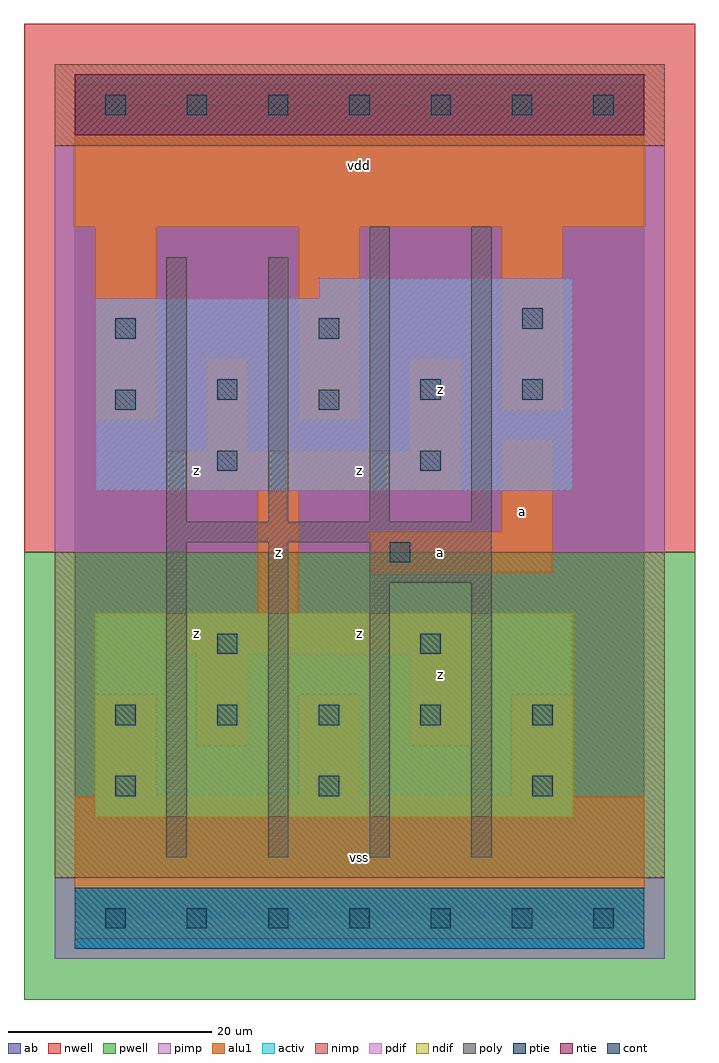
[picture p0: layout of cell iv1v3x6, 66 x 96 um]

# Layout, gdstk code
import gdstk
lib = gdstk.Library(unit=1e-6, precision=1e-09)
def R(c, l, rs):  # rectangles x0, y0, x1, y1
    for r in rs: c.add(gdstk.rectangle(r[:2], r[2:], *l))
def A(c, l, x, y, w, h, nx, ny, dx, dy):  # array of equal rectangles
    R(c, l, [(x+i*dx, y+j*dy, x+i*dx+w, y+j*dy+h) for i in range(nx) for j in range(ny)])
ndif = (3, 0)
pdif = (4, 0)
ntie = (5, 0)
ptie = (6, 0)
cont = (25, 0)
pwell = (41, 0)
nwell = (42, 0)
activ = (43, 0)
pimp = (44, 0)
nimp = (45, 0)
poly = (46, 0)
alu1 = (49, 0)
ab = (63, 0)

iv1v3x6 = lib.new_cell('iv1v3x6')
R(iv1v3x6, ndif, [(2,10,49,30)])
R(iv1v3x6, pdif, [(2,42,49,61), (24,61,49,63)])
R(iv1v3x6, ntie, [(0,77,56,83)])
R(iv1v3x6, ptie, [(0,-3,56,3)])
A(iv1v3x6, cont, 3, -1, 2, 2, 7, 2, 8, 80)
A(iv1v3x6, cont, 4, 19, 2, 2, 4, 1, 10, 0)
R(iv1v3x6, cont, [(4,12,6,14), (24,12,26,14), (45,12,47,14), (45,19,47,21), (14,26,16,28), (34,26,36,28), (31,35,33,37), (14,44,16,46), (34,44,36,46), (4,50,6,52), (24,50,26,52), (14,51,16,53), (34,51,36,53), (44,51,46,53), (4,57,6,59), (24,57,26,59), (44,58,46,60)])
R(iv1v3x6, pwell, [(-5,-8,61,36)])
R(iv1v3x6, nwell, [(-5,36,61,88)])
R(iv1v3x6, activ, [(0,-3,56,3), (2,10,49,30), (2,42,49,61), (24,61,49,63), (0,77,56,83)])
R(iv1v3x6, pimp, [(-2,-4,58,4), (-2,36,58,76)])
R(iv1v3x6, nimp, [(-2,4,58,36), (-2,76,58,84)])
R(iv1v3x6, poly, [(9,6,11,37), (19,6,21,37), (29,6,31,33), (39,6,41,33), (29,33,41,37), (9,37,41,39), (9,39,11,65), (19,39,21,65), (29,39,31,68), (39,39,41,68)])
R(iv1v3x6, alu1, [(0,-2,56,12), (2,12,8,22), (22,12,28,22), (43,12,49,22), (12,17,17,26), (33,17,39,26), (9,26,39,30), (18,30,22,42), (29,34,47,38), (42,38,47,47), (9,42,38,46), (13,46,17,55), (33,46,38,55), (2,49,8,68), (22,49,28,68), (42,50,48,68), (0,68,56,82)])
R(iv1v3x6, ab, [(0,0,56,80)])
iv1v3x6.add(gdstk.Label('z', (12,28), layer=49, texttype=0))
iv1v3x6.add(gdstk.Label('z', (20,36), layer=49, texttype=0))
iv1v3x6.add(gdstk.Label('z', (12,44), layer=49, texttype=0))
iv1v3x6.add(gdstk.Label('vss', (28,6), layer=49, texttype=0))
iv1v3x6.add(gdstk.Label('z', (28,28), layer=49, texttype=0))
iv1v3x6.add(gdstk.Label('a', (36,36), layer=49, texttype=0))
iv1v3x6.add(gdstk.Label('z', (36,24), layer=49, texttype=0))
iv1v3x6.add(gdstk.Label('z', (28,44), layer=49, texttype=0))
iv1v3x6.add(gdstk.Label('z', (36,52), layer=49, texttype=0))
iv1v3x6.add(gdstk.Label('vdd', (28,74), layer=49, texttype=0))
iv1v3x6.add(gdstk.Label('a', (44,40), layer=49, texttype=0))

lib.write_gds('iv1v3x6.gds')
